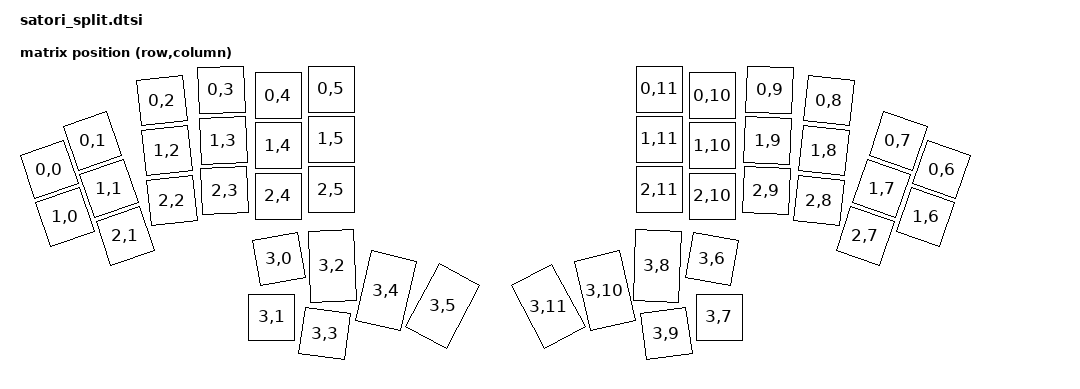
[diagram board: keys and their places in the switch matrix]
#include <dt-bindings/zmk/matrix_transform.h>
#include <physical_layouts.dtsi>

/ {
    chosen {
        zmk,kscan = &kscan0;
        zmk,physical-layout = &default_layout;
    };

    kscan0: kscan_0 {
        compatible = "zmk,kscan-gpio-matrix";
        diode-direction = "col2row";
        wakeup-source;
    };

    default_layout: default_layout {
        compatible = "zmk,physical-layout";
        display-name = "Default Layout";
        transform = <&default_transform>;

        keys  //                     w   h    x    y     rot    rx    ry
            = <&key_physical_attrs 100 100   14  161 (-1900)    64   211>
            , <&key_physical_attrs 100 100  101  104 (-1900)   151   154>
            , <&key_physical_attrs 100 100  239   23  (-600)   289    73>
            , <&key_physical_attrs 100 100  358    2  (-200)   408    52>
            , <&key_physical_attrs 100 100  472   13       0     0     0>
            , <&key_physical_attrs 100 100  578    0       0     0     0>
            , <&key_physical_attrs 100 100 1799  161    1900  1849   211>
            , <&key_physical_attrs 100 100 1712  104    1900  1762   154>
            , <&key_physical_attrs 100 100 1574   23     600  1624    73>
            , <&key_physical_attrs 100 100 1455    2     200  1505    52>
            , <&key_physical_attrs 100 100 1341   13       0     0     0>
            , <&key_physical_attrs 100 100 1235    0       0     0     0>
            , <&key_physical_attrs 100 100   46  256 (-1900)    96   306>
            , <&key_physical_attrs 100 100  134  199 (-1900)   184   249>
            , <&key_physical_attrs 100 100  250  123  (-600)   300   173>
            , <&key_physical_attrs 100 100  362  103  (-200)   412   153>
            , <&key_physical_attrs 100 100  472  113       0     0     0>
            , <&key_physical_attrs 100 100  578  100       0     0     0>
            , <&key_physical_attrs 100 100 1767  256    1900  1817   306>
            , <&key_physical_attrs 100 100 1679  199    1900  1729   249>
            , <&key_physical_attrs 100 100 1563  123     600  1613   173>
            , <&key_physical_attrs 100 100 1451  103     200  1501   153>
            , <&key_physical_attrs 100 100 1341  113       0     0     0>
            , <&key_physical_attrs 100 100 1235  100       0     0     0>
            , <&key_physical_attrs 100 100  166  294 (-1900)   216   344>
            , <&key_physical_attrs 100 100  260  223  (-600)   310   273>
            , <&key_physical_attrs 100 100  365  203  (-200)   415   253>
            , <&key_physical_attrs 100 100  472  214       0     0     0>
            , <&key_physical_attrs 100 100  578  201       0     0     0>
            , <&key_physical_attrs 100 100 1646  294    1900  1696   344>
            , <&key_physical_attrs 100 100 1553  223     600  1603   273>
            , <&key_physical_attrs 100 100 1448  203     200  1498   253>
            , <&key_physical_attrs 100 100 1341  214       0     0     0>
            , <&key_physical_attrs 100 100 1235  201       0     0     0>
            , <&key_physical_attrs 100 100  474  340 (-1000)   524   390>
            , <&key_physical_attrs 100 100  459  456       0     0     0>
            , <&key_physical_attrs 100 150  580  329  (-200)   633   404>
            , <&key_physical_attrs 100 100  565  489     800   615   539>
            , <&key_physical_attrs 100 150  687  380    1300   745   455>
            , <&key_physical_attrs 100 150  800  414    2800   861   489>
            , <&key_physical_attrs 100 100 1339  340    1000  1389   390>
            , <&key_physical_attrs 100 100 1354  456       0     0     0>
            , <&key_physical_attrs 100 150 1230  329     200  1280   404>
            , <&key_physical_attrs 100 100 1248  489  (-800)  1298   539>
            , <&key_physical_attrs 100 150 1125  380 (-1300)  1168   455>
            , <&key_physical_attrs 100 150 1010  425 (-2800)  1030   489>
            ;
        };



    default_transform: keymap_transform_0 {
        compatible = "zmk,matrix-transform";
        columns = <12>;
        rows = <4>;
        map = <
            // Left half (rows 0 to 3, columns 0-5)
            RC(0,0) RC(0,1) RC(0,2) RC(0,3) RC(0,4) RC(0,5) RC(0,6) RC(0,7) RC(0,8) RC(0,9) RC(0,10) RC(0,11)
            RC(1,0) RC(1,1) RC(1,2) RC(1,3) RC(1,4) RC(1,5) RC(1,6) RC(1,7) RC(1,8) RC(1,9) RC(1,10) RC(1,11)
            RC(2,1) RC(2,2) RC(2,3) RC(2,4) RC(2,5) RC(2,7) RC(2,8) RC(2,9) RC(2,10) RC(2,11)
            RC(3,0) RC(3,1) RC(3,2) RC(3,3) RC(3,4) RC(3,5) RC(3,6) RC(3,7) RC(3,8) RC(3,9) RC(3,10) RC(3,11)
        >;
    };
  };

&xiao_serial {
    status = "ok";
};
